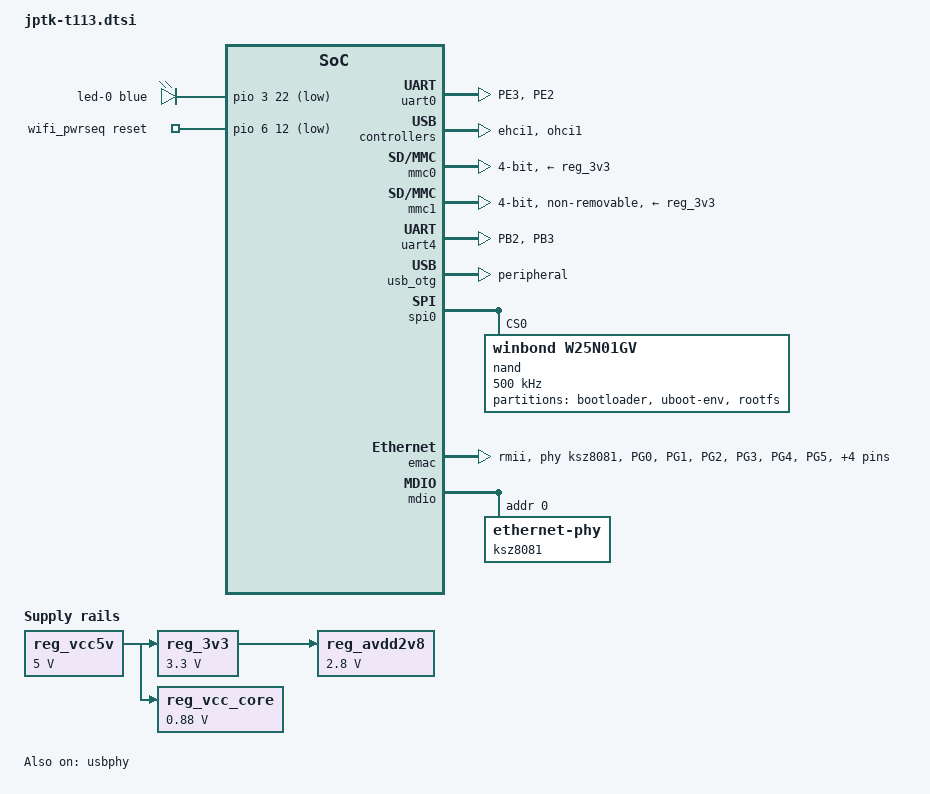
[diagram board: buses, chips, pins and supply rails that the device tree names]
// SPDX-License-Identifier: (GPL-2.0+ OR MIT)
// Copyright (C) 2022 Arm Ltd.
/*
 * Common peripherals and configurations for JPTK T113
 */

#include <dt-bindings/gpio/gpio.h>
#include <dt-bindings/leds/common.h>

/ {
	aliases {
		serial4 = &uart4;
		serial0 = &uart0;
	};

	chosen {
		stdout-path = "serial0:115200n8";
	};

	leds {
		compatible = "gpio-leds";

		led-0 {
			color = <LED_COLOR_ID_BLUE>;
			function = LED_FUNCTION_STATUS;
			gpios = <&pio 3 22 GPIO_ACTIVE_LOW>; /* PD22 */
		};
	};

	/* board wide 5V supply directly from the USB-C socket */
	reg_vcc5v: regulator-5v {
		compatible = "regulator-fixed";
		regulator-name = "vcc-5v";
		regulator-min-microvolt = <5000000>;
		regulator-max-microvolt = <5000000>;
		regulator-always-on;
	};

	/* SY8008 DC/DC regulator on the board */
	reg_3v3: regulator-3v3 {
		compatible = "regulator-fixed";
		regulator-name = "vcc-3v3";
		regulator-min-microvolt = <3300000>;
		regulator-max-microvolt = <3300000>;
		vin-supply = <&reg_vcc5v>;
	};

	/* SY8008 DC/DC regulator on the board, also supplying VDD-SYS */
	reg_vcc_core: regulator-core {
		compatible = "regulator-fixed";
		regulator-name = "vcc-core";
		regulator-min-microvolt = <880000>;
		regulator-max-microvolt = <880000>;
		vin-supply = <&reg_vcc5v>;
	};

	/* XC6206 LDO on the board */
	reg_avdd2v8: regulator-avdd {
		compatible = "regulator-fixed";
		regulator-name = "avdd2v8";
		regulator-min-microvolt = <2800000>;
		regulator-max-microvolt = <2800000>;
		vin-supply = <&reg_3v3>;
	};

	wifi_pwrseq: wifi-pwrseq {
		compatible = "mmc-pwrseq-simple";
		reset-gpios = <&pio 6 12 GPIO_ACTIVE_LOW>; /* PG12 */
	};
};



&pio {
	rmii_pg_pins: rmii-pg-pins {
		pins = "PG0", "PG1", "PG2", "PG3", "PG4",
			"PG5", "PG12", "PG13", "PG14", "PG15";
			function = "emac";
	};
	uart0_pe_pins: uart0-pe-pins {
		pins = "PE3", "PE2";
		function = "uart0";
	};

};

&uart0 {
	pinctrl-names = "default";
	pinctrl-0 = <&uart0_pe_pins>;
	status = "okay";
};

&dcxo {
	clock-frequency = <24000000>;
};

&ehci1 {
	status = "okay";
};

&mmc0 {
	pinctrl-0 = <&mmc0_pins>;
	pinctrl-names = "default";
	vmmc-supply = <&reg_3v3>;
	disable-wp;
	broken-cd;
	bus-width = <4>;
	status = "okay";
};

&mmc1 {
	pinctrl-0 = <&mmc1_pins>;
	pinctrl-names = "default";
	vmmc-supply = <&reg_3v3>;
	non-removable;
	bus-width = <4>;
	mmc-pwrseq = <&wifi_pwrseq>;
	status = "okay";
};

&ohci1 {
	status = "okay";
};

&pio {
	vcc-pb-supply = <&reg_3v3>;
	vcc-pd-supply = <&reg_3v3>;
	vcc-pe-supply = <&reg_avdd2v8>;
	vcc-pf-supply = <&reg_3v3>;
	vcc-pg-supply = <&reg_3v3>;

	/omit-if-no-ref/
	uart4_pb_pins: uart4-pb-pins {
		pins = "PB2", "PB3";
		function = "uart4";
	};
};

&uart4 {
	pinctrl-names = "default";
	pinctrl-0 = <&uart4_pb_pins>;
	status = "okay";
};

&usb_otg {
	dr_mode = "peripheral";
	status = "okay";
};

&usbphy {
	usb1_vbus-supply = <&reg_vcc5v>;
	status = "okay";
};

&spi0 {
    pinctrl-names = "default";
    pinctrl-0 = <&spi0_pins>;
    status = "okay";

    nand@0 {
	compatible = "winbond,w25n01gv", "spi-nand";

        reg = <0>;
        spi-max-frequency = <500000>;

        spi-rx-bus-width = <1>;
        spi-tx-bus-width = <1>;

        partitions {
            compatible = "fixed-partitions";
            #address-cells = <1>;
            #size-cells = <1>;

            bootloader@0 {
                label = "bootloader";
                reg = <0x00000000 0x00200000>; /* 2 MiB */
                read-only;
            };

            env@200000 {
                label = "uboot-env";
                reg = <0x00200000 0x00080000>; /* 512 KiB */
            };

            rootfs@280000 {
                label = "rootfs";
                reg = <0x00280000 0x07d80000>; /* rest of device */
            };
        };
    };
};

&emac {
	pinctrl-names = "default";
	pinctrl-0 = <&rmii_pg_pins>;
	status = "okay";
	phy-mode = "rmii";
	phy-handle = <&ksz8081>;

	local-mac-address = [ 02 12 34 56 78 9a ];
};

&mdio {
	ksz8081: ethernet-phy@0 {
		reg = <0>; // Connected to PG0. KSZ8081 has internal pull-down, so this is 0.
	};
};
